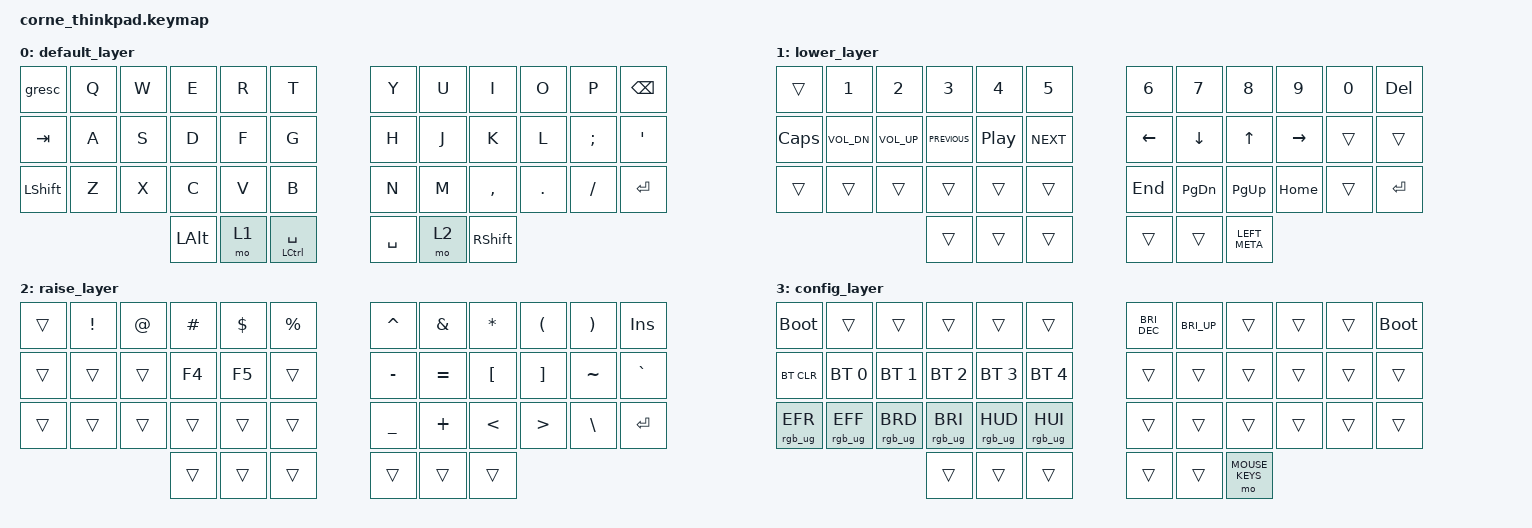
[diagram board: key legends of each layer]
/*
 * Copyright (c) 2020 The ZMK Contributors
 *
 * SPDX-License-Identifier: MIT
 */

#include <behaviors.dtsi>
#include <dt-bindings/zmk/bt.h>
#include <dt-bindings/zmk/keys.h>
#include <dt-bindings/zmk/rgb.h>

&led_strip { chain-length = <27>; };

#define MOUSE_KEYS 4
#define MOUSE_THINKPAD 5
#define MOUSE_THINKPAD_SET 6

/*
 * Defines to enable/disable features
 *
 * These defines allow us to conditionally enable and disable parts of the keymap config.
 *
 * For example, if we decide to build the firmware without the mouse features, we can
 * disable all the config options that rely on those forks and modules without having
 * to edit the entire keymap file manually every time.
 */
 
#define HAS_MOUSE_KEYS
#define HAS_MOUSE_THINKPAD

#ifdef HAS_MOUSE_KEYS
  #include <dt-bindings/zmk/mouse.h>
  #include <behaviors/mouse_keys.dtsi>
#endif  // HAS_MOUSE_KEYS

#ifdef HAS_MOUSE_THINKPAD
  // We store the trackpoint settings in a separate file
  // to make organization a little easier.
  #include "include/mouse_thinkpad.dtsi"
#endif  // HAS_MOUSE_THINKPAD


// Adjust layer keys based on enabled features.
//
// This prevents build errors when we build the firmware
// without the mouse keys PR or the TP module.

#ifdef HAS_MOUSE_KEYS
  #define U_THUMB_INNER &mo MOUSE_KEYS
#else
  #define U_THUMB_INNER &none
#endif  // HAS_MOUSE_KEYS

#ifdef HAS_MOUSE_THINKPAD
  #define U_TOG_TP_SET &tog MOUSE_THINKPAD_SET
#else
  #define U_TOG_TP_SET &none
#endif  // HAS_MOUSE_THINKPAD

// Disable line-wrap in your editor to see a "visualization" of the key layouts

/ {
     conditional_layers {
        compatible = "zmk,conditional-layers";

        tri_layer {
            if-layers = <1 2>;
            then-layer = <3>;
        };
    };

    keymap {
        compatible = "zmk,keymap";

        default_layer {
            bindings = <
&gresc     &kp Q  &kp W  &kp E         &kp R  &kp T                     &kp Y      &kp U  &kp I            &kp O    &kp P     &kp BSPC
&kp TAB    &kp A  &kp S  &kp D         &kp F  &kp G                     &kp H      &kp J  &kp K            &kp L    &kp SEMI  &kp SQT
&kp LSHFT  &kp Z  &kp X  &kp C         &kp V  &kp B                     &kp N      &kp M  &kp COMMA        &kp DOT  &kp FSLH  &kp ENTER
                         &kp LEFT_ALT  &mo 1  &mt LEFT_CONTROL SPACE    &kp SPACE  &mo 2  &kp RIGHT_SHIFT
            >;
        };

        lower_layer {
            bindings = <
&trans        &kp N1        &kp N2           &kp N3          &kp N4            &kp N5        &kp N6    &kp N7         &kp N8         &kp N9     &kp N0  &kp DEL
&kp CAPSLOCK  &kp C_VOL_DN  &kp C_VOLUME_UP  &kp C_PREVIOUS  &kp C_PLAY_PAUSE  &kp C_NEXT    &kp LEFT  &kp DOWN       &kp UP         &kp RIGHT  &trans  &trans
&trans        &trans        &trans           &trans          &trans            &trans        &kp END   &kp PAGE_DOWN  &kp PG_UP      &kp HOME   &trans  &kp ENTER
                                             &trans          &trans            &trans        &trans    &trans         &kp LEFT_META
            >;
        };

        raise_layer {
            bindings = <
&trans  &kp EXCL  &kp AT  &kp HASH  &kp DLLR  &kp PRCNT    &kp CARET  &kp AMPS   &kp ASTRK      &kp LPAR          &kp RPAR       &kp INSERT
&trans  &trans    &trans  &kp F4    &kp F5    &trans       &kp MINUS  &kp EQUAL  &kp LBKT       &kp RBKT          &kp TILDE      &kp GRAVE
&trans  &trans    &trans  &trans    &trans    &trans       &kp UNDER  &kp PLUS   &kp LESS_THAN  &kp GREATER_THAN  &kp BACKSLASH  &kp ENTER
                          &trans    &trans    &trans       &trans     &trans     &trans
            >;
        };

        config_layer {
            bindings = <
&bootloader      &trans           &trans           &trans           &trans           &trans             &kp C_BRI_DEC  &kp C_BRI_UP  &trans  &trans  &trans  &bootloader
&bt BT_CLR       &bt BT_SEL 0     &bt BT_SEL 1     &bt BT_SEL 2     &bt BT_SEL 3     &bt BT_SEL 4       &trans         &trans        &trans  &trans  &trans  &trans
&rgb_ug RGB_EFR  &rgb_ug RGB_EFF  &rgb_ug RGB_BRD  &rgb_ug RGB_BRI  &rgb_ug RGB_HUD  &rgb_ug RGB_HUI    &trans         &trans        &trans  &trans  &trans  &trans
                                                   &trans           &trans           &trans             &trans         &trans        U_THUMB_INNER
            >;
        };
    };


     #ifdef HAS_MOUSE_KEYS
          MouseKeys_layer {
               display-name = "MouseKeys";
               bindings = <
// ╭────────────────────────┬────────────────────────┬────────────────────────┬────────────────────────┬────────────────────────┬────────────────────────╮    ╭────────────────────────┬────────────────────────┬────────────────────────┬────────────────────────┬────────────────────────┬────────────────────────╮
     U_TOG_TP_SET             U_TOG_TP_SET             &none                    &mmv MOVE_UP             &msc SCRL_UP             &none                         &none                    &msc SCRL_UP             &mmv MOVE_UP             &none                    U_TOG_TP_SET              U_TOG_TP_SET
// ├────────────────────────┼────────────────────────┼────────────────────────┼────────────────────────┼────────────────────────┼────────────────────────┤    ├────────────────────────┼────────────────────────┼────────────────────────┼────────────────────────┼────────────────────────┼────────────────────────┤
     &trans                   &none                    &mmv MOVE_LEFT           &mmv MOVE_DOWN           &mmv MOVE_RIGHT          &none                         &none                    &mmv MOVE_LEFT           &mmv MOVE_DOWN           &mmv MOVE_RIGHT          &none                     &trans
// ├────────────────────────┼────────────────────────┼────────────────────────┼────────────────────────┼────────────────────────┼────────────────────────┤    ├────────────────────────┼────────────────────────┼────────────────────────┼────────────────────────┼────────────────────────┼────────────────────────┤
     &trans                   &none                    &none                    &none                    &msc SCRL_DOWN           &none                         &none                    &msc SCRL_DOWN           &none                    &none                    &trans                    &trans
// ╰────────────────────────┴────────────────────────┴────────────────────────┴────────────────────────┼────────────────────────┼────────────────────────┤    ├────────────────────────┼────────────────────────┼────────────────────────┼────────────────────────┴────────────────────────┼────────────────────────╯
                                                                                &mkp MCLK                &mkp LCLK                &mkp RCLK                     &mkp MCLK                &mkp LCLK                &mkp RCLK
//                                                                            ╰────────────────────────┴────────────────────────┴────────────────────────╯    ╰────────────────────────┴────────────────────────┴────────────────────────╯
               >;
          };
     #endif

     #ifdef HAS_MOUSE_THINKPAD
          // Automatically activated when the mouse or trackpoint moves.
          // Configured in `include/mouse_thinkpad.dtsi`.
          MouseTP_layer {
               display-name = "TP";
               bindings = <
// ╭────────────────────────┬────────────────────────┬────────────────────────┬────────────────────────┬────────────────────────┬────────────────────────╮    ╭────────────────────────┬────────────────────────┬────────────────────────┬────────────────────────┬────────────────────────┬────────────────────────╮
     U_TOG_TP_SET             U_TOG_TP_SET             &trans                   &trans                   &msc SCRL_UP             &trans                        &trans                   &trans                   &trans                   &trans                   U_TOG_TP_SET              U_TOG_TP_SET
// ├────────────────────────┼────────────────────────┼────────────────────────┼────────────────────────┼────────────────────────┼────────────────────────┤    ├────────────────────────┼────────────────────────┼────────────────────────┼────────────────────────┼────────────────────────┼────────────────────────┤
     &trans                   &trans                   &trans                   &trans                   &trans                   &trans                        &trans                   &trans                   &trans                   &trans                   &trans                    &trans
// ├────────────────────────┼────────────────────────┼────────────────────────┼────────────────────────┼────────────────────────┼────────────────────────┤    ├────────────────────────┼────────────────────────┼────────────────────────┼────────────────────────┼────────────────────────┼────────────────────────┤
     &trans                   &trans                   &trans                   &trans                   &msc SCRL_DOWN           &trans                        &trans                   &trans                   &trans                   &trans                   &trans                    &trans
// ╰────────────────────────┴────────────────────────┴────────────────────────┴────────────────────────┼────────────────────────┼────────────────────────┤    ├────────────────────────┼────────────────────────┼────────────────────────┼────────────────────────┴────────────────────────┼────────────────────────╯
                                                                                &mkp MCLK                &mkp LCLK                &mkp RCLK                     &mkp MCLK                &mkp LCLK                &mkp RCLK
//                                                                            ╰────────────────────────┴────────────────────────┴────────────────────────╯    ╰────────────────────────┴────────────────────────┴────────────────────────╯
               >;
          };

          // You can find the defines for the actual key press behaviors in `include/mouse_thinkpad.dtsi`.
          MouseSettings_layer {
               display-name = "TP Set";
               bindings = <
// ╭────────────────────────┬────────────────────────┬────────────────────────┬────────────────────────┬────────────────────────┬────────────────────────╮    ╭────────────────────────┬────────────────────────┬────────────────────────┬────────────────────────┬────────────────────────┬────────────────────────╮
     U_TOG_TP_SET             U_TOG_TP_SET             &none                    U_MSS_TP_S_D             U_MSS_TP_S_I             U_MSS_TP_PT_I                 U_MSS_TP_PT_I            U_MSS_TP_S_D             U_MSS_TP_S_I             &none                    U_TOG_TP_SET              U_TOG_TP_SET
// ├────────────────────────┼────────────────────────┼────────────────────────┼────────────────────────┼────────────────────────┼────────────────────────┤    ├────────────────────────┼────────────────────────┼────────────────────────┼────────────────────────┼────────────────────────┼────────────────────────┤
     U_MSS_RESET              U_MSS_RESET              &none                    U_MSS_TP_NI_D            U_MSS_TP_NI_I            U_MSS_TP_PT_D                 U_MSS_TP_PT_D            U_MSS_TP_NI_D            U_MSS_TP_NI_I            &none                    U_MSS_RESET               U_MSS_RESET
// ├────────────────────────┼────────────────────────┼────────────────────────┼────────────────────────┼────────────────────────┼────────────────────────┤    ├────────────────────────┼────────────────────────┼────────────────────────┼────────────────────────┼────────────────────────┼────────────────────────┤
     U_MSS_LOG                U_MSS_LOG                &none                    U_MSS_TP_V6_D            U_MSS_TP_V6_I            &none                         &none                    U_MSS_TP_V6_D            U_MSS_TP_V6_I            &none                    U_MSS_LOG                 U_MSS_LOG
// ╰────────────────────────┴────────────────────────┴────────────────────────┴────────────────────────┼────────────────────────┼────────────────────────┤    ├────────────────────────┼────────────────────────┼────────────────────────┼────────────────────────┴────────────────────────┼────────────────────────╯
                                                                                &trans                   &mkp LCLK                &mkp RCLK                     &none                    &mkp LCLK                &mkp RCLK
//                                                                            ╰────────────────────────┴────────────────────────┴────────────────────────╯    ╰────────────────────────┴────────────────────────┴────────────────────────╯
               >;
          };
     #endif
};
